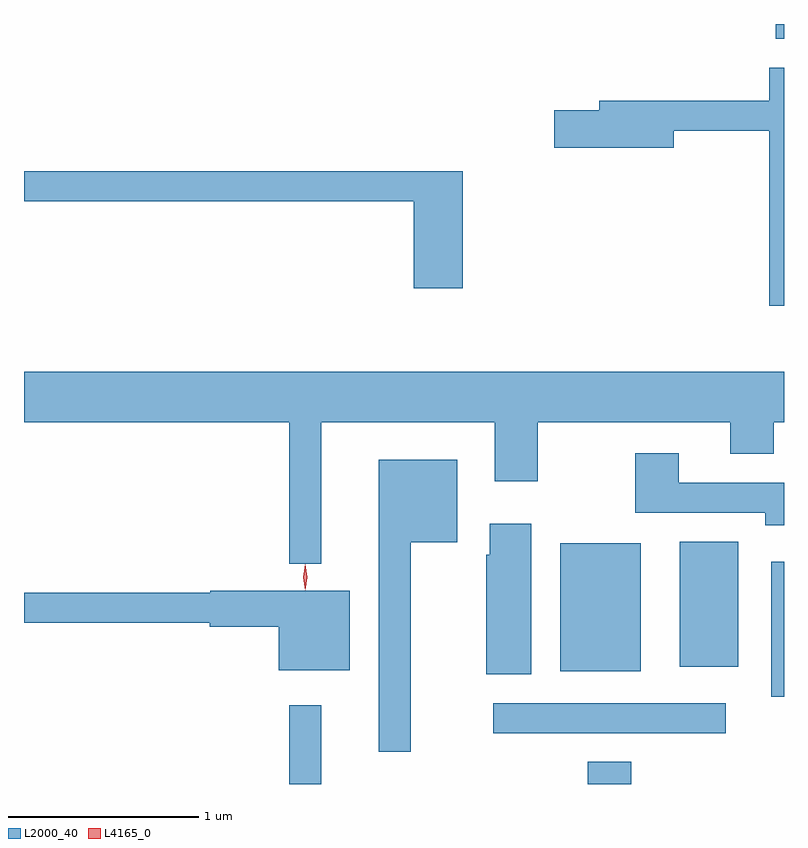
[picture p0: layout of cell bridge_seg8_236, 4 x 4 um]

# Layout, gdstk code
import gdstk
lib = gdstk.Library(unit=1e-6, precision=1e-09)
def R(c, l, rs):  # rectangles x0, y0, x1, y1
    for r in rs: c.add(gdstk.rectangle(r[:2], r[2:], *l))
def P(c, l, *ps):  # polygons
    for p in ps: c.add(gdstk.Polygon(p, *l))
L2000_40 = (2000, 40)
L4165_0 = (4165, 0)

bridge_seg8_236 = lib.new_cell('bridge_seg8_236')
R(bridge_seg8_236, L2000_40, [(1195.851,1867.813,1196.019,1868.228), (1197.421,1867.813,1197.649,1867.929), (1196.923,1868.081,1198.148,1868.239), (1198.386,1868.271,1198.454,1868.984), (1197.276,1868.406,1197.699,1869.079), (1197.906,1868.431,1198.214,1869.089), (1198.411,1871.736,1198.454,1871.813)])
P(bridge_seg8_236, L2000_40, [(1198.454,1871.584),(1198.376,1871.584),(1198.376,1871.409),(1197.481,1871.409),(1197.481,1871.359),(1197.246,1871.359),(1197.246,1871.161),(1197.874,1871.161),(1197.874,1871.251),(1198.376,1871.251),(1198.376,1870.331),(1198.454,1870.331)],
  [(1196.764,1871.039),(1194.454,1871.039),(1194.454,1870.881),(1196.506,1870.881),(1196.506,1870.421),(1196.764,1870.421)],
  [(1196.019,1869.716),(1196.931,1869.716),(1196.931,1869.406),(1197.159,1869.406),(1197.159,1869.716),(1198.171,1869.716),(1198.171,1869.551),(1198.399,1869.551),(1198.399,1869.716),(1198.454,1869.716),(1198.454,1869.984),(1194.454,1869.984),(1194.454,1869.716),(1195.851,1869.716),(1195.851,1868.973),(1196.019,1868.973)],
  [(1198.454,1869.399),(1197.899,1869.399),(1197.899,1869.554),(1197.671,1869.554),(1197.671,1869.241),(1198.356,1869.241),(1198.356,1869.176),(1198.454,1869.176)],
  [(1196.489,1869.086),(1196.734,1869.086),(1196.734,1869.519),(1196.321,1869.519),(1196.321,1867.983),(1196.489,1867.983)],
  [(1197.124,1869.184),(1196.906,1869.184),(1196.906,1869.019),(1196.886,1869.019),(1196.886,1868.391),(1197.124,1868.391)],
  [(1196.169,1868.829),(1195.435,1868.829),(1195.435,1868.819),(1194.454,1868.819),(1194.454,1868.661),(1195.431,1868.661),(1195.431,1868.641),(1195.796,1868.641),(1195.796,1868.411),(1196.169,1868.411)])
P(bridge_seg8_236, L4165_0, [(1195.935,1868.833),(1195.934,1868.834),(1195.925,1868.902),(1195.934,1868.97),(1195.935,1868.97),(1195.935,1868.97),(1195.945,1868.902),(1195.935,1868.834)],
  [(1195.934,1868.838),(1195.934,1868.839),(1195.924,1868.903),(1195.933,1868.966),(1195.933,1868.967),(1195.934,1868.966),(1195.944,1868.903),(1195.934,1868.839)])

lib.write_gds('bridge_seg8_236.gds')
